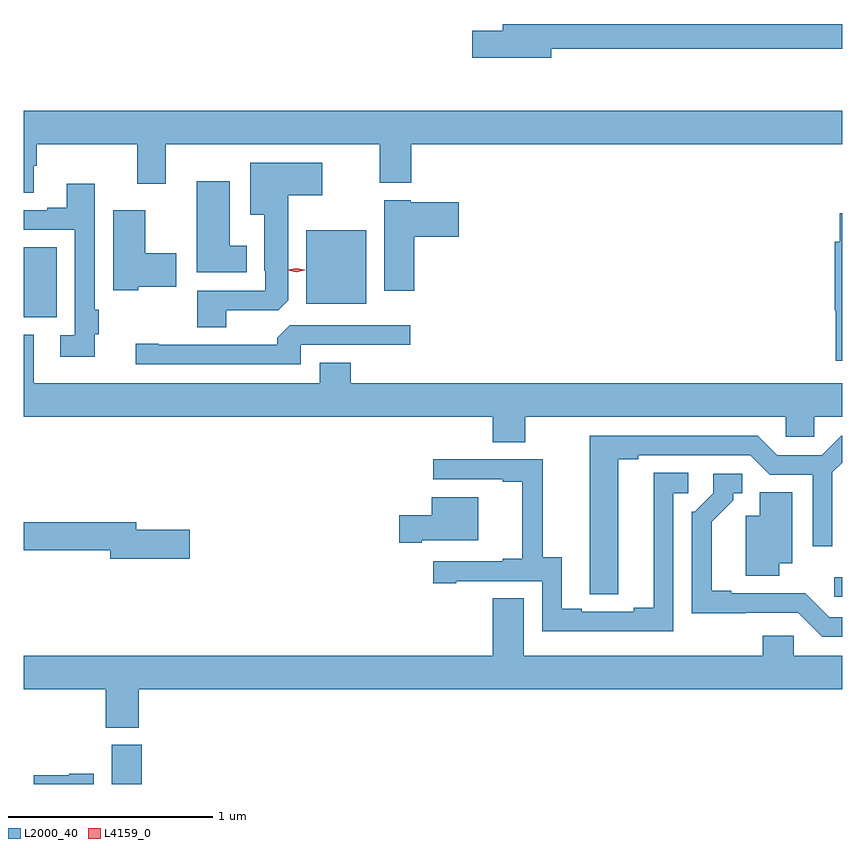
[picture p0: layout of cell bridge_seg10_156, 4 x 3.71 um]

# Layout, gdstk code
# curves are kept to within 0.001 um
import gdstk
lib = gdstk.Library(unit=1e-6, precision=1e-09)
def R(c, l, rs):  # rectangles x0, y0, x1, y1
    for r in rs: c.add(gdstk.rectangle(r[:2], r[2:], *l))
def P(c, l, *ps):  # polygons
    for p in ps: c.add(gdstk.Polygon(p, *l))
L2000_40 = (2000, 40)
L4159_0 = (4159, 0)

bridge_seg10_156 = lib.new_cell('bridge_seg10_156')
R(bridge_seg10_156, L2000_40, [(251.264,1291.861,251.411,1292.052), (254.796,1292.775,254.835,1292.872), (250.835,1294.141,250.996,1294.484), (252.215,1294.208,252.508,1294.567)])
P(bridge_seg10_156, L2000_40, [(253.414,1295.454),(254.835,1295.454),(254.835,1295.575),(253.175,1295.575),(253.175,1295.541),(253.026,1295.541),(253.026,1295.411),(253.414,1295.411)],
  [(250.885,1294.882),(250.898,1294.882),(250.898,1294.988),(251.39,1294.988),(251.39,1294.794),(251.53,1294.794),(251.53,1294.988),(252.575,1294.988),(252.575,1294.799),(252.728,1294.799),(252.728,1294.988),(254.835,1294.988),(254.835,1295.152),(250.835,1295.152),(250.835,1294.75),(250.885,1294.75)],
  [(251.824,1294.176),(252.078,1294.176),(252.127,1294.225),(252.127,1294.739),(252.295,1294.739),(252.295,1294.897),(251.942,1294.897),(251.942,1294.643),(252.011,1294.643),(252.011,1294.369),(252.015,1294.369),(252.015,1294.272),(251.684,1294.272),(251.684,1294.093),(251.824,1294.093)],
  [(251.926,1294.492),(251.842,1294.492),(251.842,1294.807),(251.681,1294.807),(251.681,1294.361),(251.926,1294.361)],
  [(251.183,1294.06),(251.201,1294.06),(251.201,1294.178),(251.181,1294.178),(251.181,1294.795),(251.045,1294.795),(251.045,1294.678),(250.949,1294.678),(250.949,1294.665),(250.835,1294.665),(250.835,1294.569),(251.085,1294.569),(251.085,1294.053),(251.013,1294.053),(251.013,1293.948),(251.183,1293.948)],
  [(252.743,1294.535),(252.961,1294.535),(252.961,1294.705),(252.726,1294.705),(252.726,1294.714),(252.596,1294.714),(252.596,1294.272),(252.743,1294.272)],
  [(251.394,1294.292),(251.581,1294.292),(251.581,1294.455),(251.428,1294.455),(251.428,1294.666),(251.273,1294.666),(251.273,1294.274),(251.394,1294.274)],
  [(254.835,1294.651),(254.822,1294.651),(254.822,1294.512),(254.798,1294.512),(254.798,1294.176),(254.803,1294.176),(254.803,1293.93),(254.835,1293.93)],
  [(252.189,1294.008),(252.724,1294.008),(252.724,1294.104),(252.135,1294.104),(252.074,1294.042),(252.074,1294.008),(251.494,1294.008),(251.494,1294.013),(251.382,1294.013),(251.382,1293.912),(252.189,1293.912)],
  [(253.287,1293.656),(254.559,1293.656),(254.559,1293.558),(254.697,1293.558),(254.697,1293.656),(254.835,1293.656),(254.835,1293.82),(252.434,1293.82),(252.434,1293.919),(252.281,1293.919),(252.281,1293.82),(250.885,1293.82),(250.885,1294.056),(250.835,1294.056),(250.835,1293.656),(253.127,1293.656),(253.127,1293.532),(253.287,1293.532)],
  [(253.741,1293.448),(253.837,1293.448),(253.837,1293.468),(254.385,1293.468),(254.481,1293.372),(254.691,1293.372),(254.691,1293.024),(254.787,1293.024),(254.787,1293.384),(254.835,1293.432),(254.835,1293.564),(254.831,1293.564),(254.735,1293.468),(254.517,1293.468),(254.421,1293.564),(253.601,1293.564),(253.602,1292.788),(253.741,1292.788)],
  [(254.01,1293.282),(254.083,1293.282),(254.083,1293.383),(253.913,1293.383),(253.913,1292.723),(253.817,1292.723),(253.817,1292.703),(253.561,1292.703),(253.561,1292.718),(253.465,1292.718),(253.465,1292.969),(253.371,1292.969),(253.371,1293.447),(252.837,1293.447),(252.837,1293.351),(253.175,1293.351),(253.175,1293.339),(253.271,1293.339),(253.271,1292.962),(253.175,1292.962),(253.175,1292.949),(252.837,1292.949),(252.837,1292.841),(252.949,1292.841),(252.949,1292.853),(253.368,1292.853),(253.368,1292.607),(254.01,1292.607)],
  [(254.835,1292.676),(254.772,1292.676),(254.654,1292.794),(254.293,1292.793),(254.293,1292.806),(254.197,1292.806),(254.197,1293.142),(254.302,1293.247),(254.302,1293.282),(254.347,1293.282),(254.347,1293.378),(254.205,1293.378),(254.205,1293.282),(254.115,1293.192),(254.1,1293.192),(254.1,1292.696),(254.619,1292.697),(254.736,1292.58),(254.835,1292.58)],
  [(254.527,1292.939),(254.59,1292.939),(254.59,1293.287),(254.432,1293.287),(254.432,1293.172),(254.363,1293.172),(254.363,1292.878),(254.527,1292.878)],
  [(252.781,1293.053),(253.057,1293.053),(253.057,1293.262),(252.83,1293.262),(252.83,1293.175),(252.669,1293.175),(252.669,1293.041),(252.781,1293.041)],
  [(251.647,1293.104),(251.386,1293.104),(251.386,1293.14),(250.835,1293.14),(250.835,1293.004),(251.258,1293.004),(251.258,1292.962),(251.647,1292.962)],
  [(251.396,1292.324),(254.835,1292.324),(254.835,1292.488),(254.598,1292.488),(254.598,1292.586),(254.447,1292.586),(254.447,1292.488),(253.279,1292.488),(253.279,1292.768),(253.127,1292.768),(253.127,1292.488),(250.835,1292.488),(250.835,1292.324),(251.236,1292.324),(251.236,1292.137),(251.396,1292.137)],
  [(251.176,1291.912),(251.058,1291.912),(251.058,1291.903),(250.883,1291.903),(250.883,1291.861),(251.176,1291.861)])
P(bridge_seg10_156, L4159_0, [(252.167,1294.362),(252.126,1294.372),(252.126,1294.372),(252.126,1294.373),(252.167,1294.382),(252.208,1294.373),(252.208,1294.372),(252.208,1294.372)])

lib.write_gds('bridge_seg10_156.gds')
